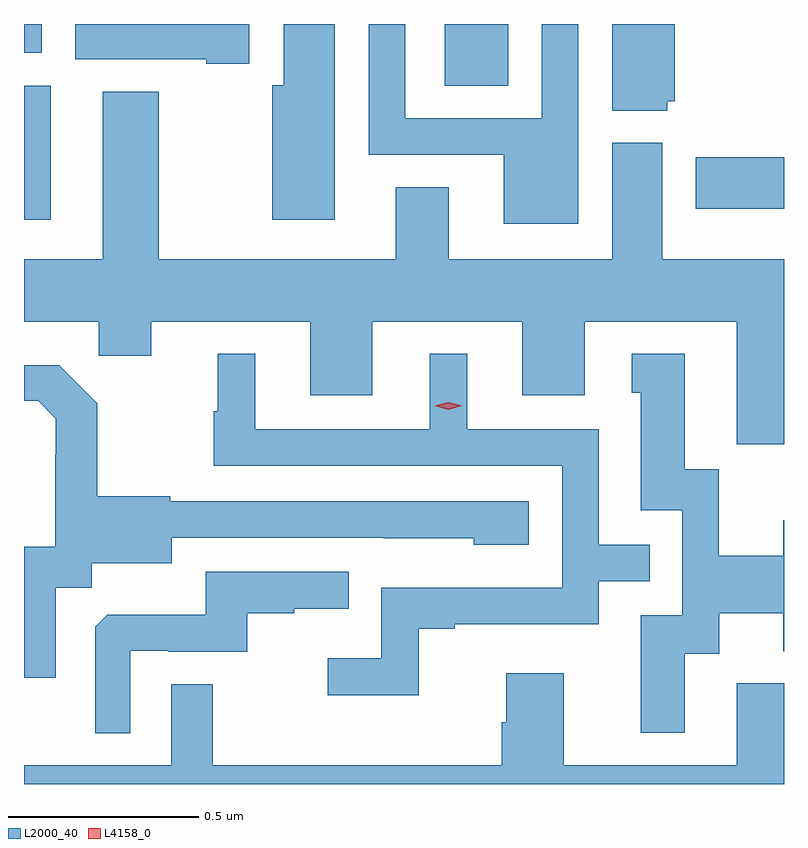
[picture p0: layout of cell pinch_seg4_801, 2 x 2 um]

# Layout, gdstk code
import gdstk
lib = gdstk.Library(unit=1e-6, precision=1e-09)
def R(c, l, rs):  # rectangles x0, y0, x1, y1
    for r in rs: c.add(gdstk.rectangle(r[:2], r[2:], *l))
def P(c, l, *ps):  # polygons
    for p in ps: c.add(gdstk.Polygon(p, *l))
L2000_40 = (2000, 40)
L4158_0 = (4158, 0)

pinch_seg4_801 = lib.new_cell('pinch_seg4_801')
R(pinch_seg4_801, L2000_40, [(796.49,829.056,796.561,829.408), (798.258,829.085,798.49,829.22), (797.597,829.408,797.764,829.571), (796.49,829.496,796.537,829.571)])
P(pinch_seg4_801, L2000_40, [(797.949,829.571),(797.853,829.571),(797.853,829.323),(797.493,829.323),(797.493,829.571),(797.397,829.571),(797.397,829.227),(797.753,829.227),(797.753,829.046),(797.949,829.046)],
  [(797.083,829.571),(796.625,829.571),(796.625,829.478),(796.97,829.478),(796.97,829.466),(797.083,829.466)],
  [(797.308,829.571),(797.174,829.571),(797.174,829.41),(797.143,829.41),(797.143,829.056),(797.308,829.056)],
  [(798.183,829.368),(798.202,829.368),(798.202,829.571),(798.038,829.571),(798.038,829.343),(798.183,829.343)],
  [(798.49,828.952),(798.169,828.952),(798.169,829.258),(798.038,829.258),(798.038,828.952),(797.608,828.952),(797.608,829.142),(797.468,829.142),(797.468,828.952),(796.845,828.952),(796.845,829.393),(796.697,829.393),(796.697,828.952),(796.49,828.952),(796.49,828.788),(796.687,828.788),(796.687,828.698),(796.825,828.698),(796.825,828.788),(797.243,828.788),(797.243,828.594),(797.407,828.594),(797.407,828.788),(797.801,828.788),(797.801,828.594),(797.965,828.594),(797.965,828.788),(798.365,828.788),(798.365,828.577),(798.366,828.577),(798.366,828.465),(798.49,828.465)],
  [(797.529,827.979),(797.623,827.979),(797.623,827.991),(798.003,827.991),(798.003,828.105),(798.137,828.105),(798.137,828.201),(798.003,828.201),(798.003,828.504),(797.656,828.504),(797.656,828.703),(797.558,828.703),(797.558,828.504),(797.098,828.504),(797.098,828.703),(797,828.703),(797,828.552),(796.989,828.552),(796.989,828.408),(797.907,828.408),(797.907,828.087),(797.43,828.087),(797.43,827.902),(797.289,827.902),(797.289,827.804),(797.529,827.804)],
  [(798.229,827.914),(798.319,827.914),(798.319,828.02),(798.488,828.02),(798.488,827.921),(798.49,827.921),(798.49,828.265),(798.488,828.265),(798.488,828.172),(798.318,828.172),(798.318,828.399),(798.229,828.399),(798.229,828.703),(798.089,828.703),(798.089,828.6),(798.113,828.6),(798.113,828.291),(798.222,828.291),(798.222,828.015),(798.113,828.015),(798.113,827.706),(798.229,827.706)],
  [(796.573,828.088),(796.668,828.088),(796.668,828.152),(796.879,828.152),(796.879,828.219),(797.437,828.219),(797.437,828.218),(797.673,828.218),(797.673,828.2),(797.818,828.2),(797.818,828.315),(796.875,828.315),(796.875,828.328),(796.683,828.328),(796.683,828.573),(796.583,828.673),(796.49,828.673),(796.49,828.579),(796.527,828.579),(796.574,828.532),(796.574,828.437),(796.572,828.437),(796.572,828.196),(796.49,828.196),(796.49,827.85),(796.573,827.85)],
  [(796.77,827.922),(796.87,827.922),(796.87,827.919),(797.078,827.919),(797.078,828.021),(797.201,828.021),(797.201,828.032),(797.345,828.032),(797.345,828.129),(796.968,828.129),(796.968,828.017),(796.709,828.017),(796.677,827.985),(796.677,827.705),(796.77,827.705)],
  [(798.49,827.836),(798.365,827.836),(798.365,827.62),(797.911,827.62),(797.911,827.863),(797.759,827.863),(797.759,827.733),(797.747,827.733),(797.747,827.62),(796.987,827.62),(796.987,827.834),(796.878,827.834),(796.878,827.62),(796.49,827.62),(796.49,827.571),(798.49,827.571)])
P(pinch_seg4_801, L4158_0, [(797.607,828.556),(797.571,828.566),(797.571,828.566),(797.571,828.566),(797.607,828.576),(797.643,828.566),(797.643,828.566),(797.643,828.566)])

lib.write_gds('pinch_seg4_801.gds')
